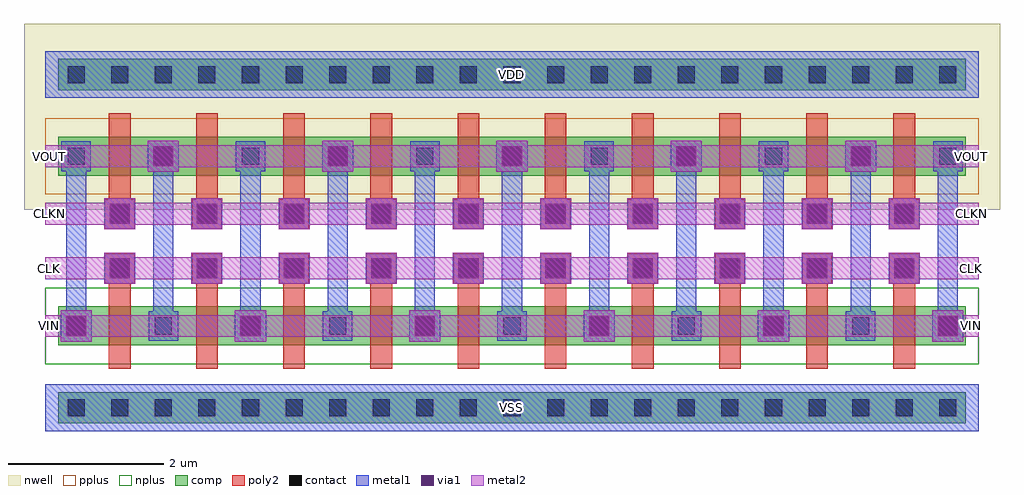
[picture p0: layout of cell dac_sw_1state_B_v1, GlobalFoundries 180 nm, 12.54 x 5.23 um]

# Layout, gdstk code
import gdstk
lib = gdstk.Library(unit=1e-6, precision=5e-09)
def R(c, l, rs):  # rectangles x0, y0, x1, y1
    for r in rs: c.add(gdstk.rectangle(r[:2], r[2:], *l))
def A(c, l, x, y, w, h, nx, ny, dx, dy):  # array of equal rectangles
    R(c, l, [(x+i*dx, y+j*dy, x+i*dx+w, y+j*dy+h) for i in range(nx) for j in range(ny)])
nwell = (21, 0)
comp = (22, 0)
poly2 = (30, 0)
pplus = (31, 0)
nplus = (32, 0)
contact = (33, 0)
metal1 = (34, 0)
via1 = (35, 0)
metal2 = (36, 0)

pfet = lib.new_cell('pfet')
R(pfet, nwell, [(-0.9,-0.44,1.56,0.94)])
R(pfet, comp, [(-0.46,0,0,0.5), (0,0,0.66,0.5), (0.66,0,1.12,0.5)])
R(pfet, poly2, [(0.14,-0.68,0.52,-0.3), (0.19,-0.3,0.47,0.8)])
R(pfet, pplus, [(-0.63,-0.24,1.29,0.74)])
R(pfet, contact, [(0.22,-0.6,0.44,-0.38), (-0.34,0.14,-0.12,0.36), (0.78,0.14,1,0.36)])
R(pfet, metal1, [(0.14,-0.68,0.52,-0.3), (-0.42,0.06,-0.04,0.44), (0.7,0.06,1.08,0.44)])

via_dev = lib.new_cell('via_dev')
R(via_dev, metal1, [(0,0,0.4,0.4)])
R(via_dev, via1, [(0.07,0.07,0.33,0.33)])
R(via_dev, metal2, [(0,0,0.4,0.4)])

dac_sw_1state_b_v1 = lib.new_cell('dac_sw_1state_B_v1')
R(dac_sw_1state_b_v1, nwell, [(5.08,9.03,17.62,10.04)])
A(dac_sw_1state_b_v1, comp, 5.52, 5.91, 1.58, 0.5, 10, 1, 1.12, 0)
R(dac_sw_1state_b_v1, comp, [(5.52,4.91,17.18,5.31), (5.52,5.91,5.98,6.41), (6.64,5.91,7.1,6.41), (6.64,5.91,7.1,6.41), (7.76,5.91,8.22,6.41), (7.76,5.91,8.22,6.41), (8.88,5.91,9.34,6.41), (8.88,5.91,9.34,6.41), (10,5.91,10.46,6.41), (10,5.91,10.46,6.41), (11.12,5.91,11.58,6.41), (11.12,5.91,11.58,6.41), (12.24,5.91,12.7,6.41), (12.24,5.91,12.7,6.41), (13.36,5.91,13.82,6.41), (13.36,5.91,13.82,6.41), (14.48,5.91,14.94,6.41), (14.48,5.91,14.94,6.41), (15.6,5.91,16.06,6.41), (15.6,5.91,16.06,6.41), (16.72,5.91,17.18,6.41), (5.52,9.19,17.18,9.59)])
A(dac_sw_1state_b_v1, poly2, 6.17, 5.61, 0.28, 1.1, 10, 1, 1.12, 0)
A(dac_sw_1state_b_v1, poly2, 6.12, 6.71, 0.38, 0.38, 10, 1, 1.12, 0)
R(dac_sw_1state_b_v1, pplus, [(5.35,4.81,17.35,5.41)])
A(dac_sw_1state_b_v1, nplus, 5.35, 5.67, 1.92, 0.98, 10, 1, 1.12, 0)
R(dac_sw_1state_b_v1, nplus, [(5.35,9.09,17.35,9.69)])
A(dac_sw_1state_b_v1, contact, 5.64, 5, 0.22, 0.22, 21, 2, 0.56, 4.28)
A(dac_sw_1state_b_v1, contact, 6.2, 6.79, 0.22, 0.22, 10, 1, 1.12, 0)
R(dac_sw_1state_b_v1, contact, [(5.64,6.05,5.86,6.27), (6.76,6.05,6.98,6.27), (6.76,6.05,6.98,6.27), (7.88,6.05,8.1,6.27), (7.88,6.05,8.1,6.27), (9,6.05,9.22,6.27), (9,6.05,9.22,6.27), (10.12,6.05,10.34,6.27), (10.12,6.05,10.34,6.27), (11.24,6.05,11.46,6.27), (11.24,6.05,11.46,6.27), (12.36,6.05,12.58,6.27), (12.36,6.05,12.58,6.27), (13.48,6.05,13.7,6.27), (13.48,6.05,13.7,6.27), (14.6,6.05,14.82,6.27), (14.6,6.05,14.82,6.27), (15.72,6.05,15.94,6.27), (15.72,6.05,15.94,6.27), (16.84,6.05,17.06,6.27)])
A(dac_sw_1state_b_v1, metal1, 5.55, 4.91, 0.4, 0.4, 21, 2, 0.56, 4.28)
A(dac_sw_1state_b_v1, metal1, 6.12, 6.71, 0.38, 0.38, 10, 1, 1.12, 0)
R(dac_sw_1state_b_v1, metal1, [(5.56,5.97,5.94,6.35), (6.68,5.97,7.06,6.35), (6.68,5.97,7.06,6.35), (7.8,5.97,8.18,6.35), (7.8,5.97,8.18,6.35), (8.92,5.97,9.3,6.35), (8.92,5.97,9.3,6.35), (10.04,5.97,10.42,6.35), (10.04,5.97,10.42,6.35), (11.16,5.97,11.54,6.35), (11.16,5.97,11.54,6.35), (12.28,5.97,12.66,6.35), (12.28,5.97,12.66,6.35), (13.4,5.97,13.78,6.35), (13.4,5.97,13.78,6.35), (14.52,5.97,14.9,6.35), (14.52,5.97,14.9,6.35), (15.64,5.97,16.02,6.35), (15.64,5.97,16.02,6.35), (16.76,5.97,17.14,6.35)])
dac_sw_1state_b_v1.add(gdstk.FlexPath([(5.35,9.39),(17.35,9.39)], 0.6, ends="flush", simple_path=True, layer=34, datatype=0))  # metal1
dac_sw_1state_b_v1.add(gdstk.FlexPath([(5.75,8.53),(5.75,5.97)], 0.26, ends="flush", simple_path=True, layer=34, datatype=0))  # metal1
dac_sw_1state_b_v1.add(gdstk.FlexPath([(6.87,8.53),(6.87,5.97)], 0.26, ends="flush", simple_path=True, layer=34, datatype=0))  # metal1
dac_sw_1state_b_v1.add(gdstk.FlexPath([(7.99,8.53),(7.99,5.97)], 0.26, ends="flush", simple_path=True, layer=34, datatype=0))  # metal1
dac_sw_1state_b_v1.add(gdstk.FlexPath([(9.11,8.53),(9.11,5.97)], 0.26, ends="flush", simple_path=True, layer=34, datatype=0))  # metal1
dac_sw_1state_b_v1.add(gdstk.FlexPath([(10.23,8.53),(10.23,5.97)], 0.26, ends="flush", simple_path=True, layer=34, datatype=0))  # metal1
dac_sw_1state_b_v1.add(gdstk.FlexPath([(11.35,8.53),(11.35,5.97)], 0.26, ends="flush", simple_path=True, layer=34, datatype=0))  # metal1
dac_sw_1state_b_v1.add(gdstk.FlexPath([(12.47,8.53),(12.47,5.97)], 0.26, ends="flush", simple_path=True, layer=34, datatype=0))  # metal1
dac_sw_1state_b_v1.add(gdstk.FlexPath([(13.59,8.53),(13.59,5.97)], 0.26, ends="flush", simple_path=True, layer=34, datatype=0))  # metal1
dac_sw_1state_b_v1.add(gdstk.FlexPath([(14.71,8.53),(14.71,5.97)], 0.26, ends="flush", simple_path=True, layer=34, datatype=0))  # metal1
dac_sw_1state_b_v1.add(gdstk.FlexPath([(15.83,8.53),(15.83,5.97)], 0.26, ends="flush", simple_path=True, layer=34, datatype=0))  # metal1
dac_sw_1state_b_v1.add(gdstk.FlexPath([(16.95,8.53),(16.95,5.97)], 0.26, ends="flush", simple_path=True, layer=34, datatype=0))  # metal1
dac_sw_1state_b_v1.add(gdstk.FlexPath([(5.35,5.11),(17.35,5.11)], 0.6, ends="flush", simple_path=True, layer=34, datatype=0))  # metal1
dac_sw_1state_b_v1.add(gdstk.FlexPath([(5.35,8.34),(17.35,8.34)], 0.28, ends="flush", simple_path=True, layer=36, datatype=0))  # metal2
dac_sw_1state_b_v1.add(gdstk.FlexPath([(5.35,7.6),(17.35,7.6)], 0.28, ends="flush", simple_path=True, layer=36, datatype=0))  # metal2
dac_sw_1state_b_v1.add(gdstk.FlexPath([(5.35,6.16),(17.35,6.16)], 0.28, ends="flush", simple_path=True, layer=36, datatype=0))  # metal2
dac_sw_1state_b_v1.add(gdstk.FlexPath([(5.35,6.9),(17.35,6.9)], 0.28, ends="flush", simple_path=True, layer=36, datatype=0))  # metal2
dac_sw_1state_b_v1.add(gdstk.Reference(pfet, (7.1,8.09)))
dac_sw_1state_b_v1.add(gdstk.Reference(pfet, (9.34,8.09)))
dac_sw_1state_b_v1.add(gdstk.Reference(pfet, (5.98,8.09)))
dac_sw_1state_b_v1.add(gdstk.Reference(pfet, (12.7,8.09)))
dac_sw_1state_b_v1.add(gdstk.Reference(pfet, (13.82,8.09)))
dac_sw_1state_b_v1.add(gdstk.Reference(pfet, (14.94,8.09)))
dac_sw_1state_b_v1.add(gdstk.Reference(pfet, (16.06,8.09)))
dac_sw_1state_b_v1.add(gdstk.Reference(pfet, (11.58,8.09)))
dac_sw_1state_b_v1.add(gdstk.Reference(pfet, (10.46,8.09)))
dac_sw_1state_b_v1.add(gdstk.Reference(via_dev, (11.71,7.4)))
dac_sw_1state_b_v1.add(gdstk.Reference(via_dev, (6.11,7.4)))
dac_sw_1state_b_v1.add(gdstk.Reference(via_dev, (7.23,7.4)))
dac_sw_1state_b_v1.add(gdstk.Reference(via_dev, (8.35,7.4)))
dac_sw_1state_b_v1.add(gdstk.Reference(via_dev, (9.47,7.4)))
dac_sw_1state_b_v1.add(gdstk.Reference(via_dev, (10.59,7.4)))
dac_sw_1state_b_v1.add(gdstk.Reference(via_dev, (12.83,7.4)))
dac_sw_1state_b_v1.add(gdstk.Reference(via_dev, (13.95,7.4)))
dac_sw_1state_b_v1.add(gdstk.Reference(via_dev, (15.07,7.4)))
dac_sw_1state_b_v1.add(gdstk.Reference(via_dev, (16.19,7.4)))
dac_sw_1state_b_v1.add(gdstk.Reference(via_dev, (11.71,6.7)))
dac_sw_1state_b_v1.add(gdstk.Reference(via_dev, (7.23,6.7)))
dac_sw_1state_b_v1.add(gdstk.Reference(via_dev, (8.35,6.7)))
dac_sw_1state_b_v1.add(gdstk.Reference(via_dev, (9.47,6.7)))
dac_sw_1state_b_v1.add(gdstk.Reference(via_dev, (10.59,6.7)))
dac_sw_1state_b_v1.add(gdstk.Reference(via_dev, (12.83,6.7)))
dac_sw_1state_b_v1.add(gdstk.Reference(via_dev, (13.95,6.7)))
dac_sw_1state_b_v1.add(gdstk.Reference(via_dev, (15.07,6.7)))
dac_sw_1state_b_v1.add(gdstk.Reference(via_dev, (16.19,6.7)))
dac_sw_1state_b_v1.add(gdstk.Reference(pfet, (8.22,8.09)))
dac_sw_1state_b_v1.add(gdstk.Reference(via_dev, (6.67,8.14)))
dac_sw_1state_b_v1.add(gdstk.Reference(via_dev, (8.91,8.14)))
dac_sw_1state_b_v1.add(gdstk.Reference(via_dev, (11.15,8.14)))
dac_sw_1state_b_v1.add(gdstk.Reference(via_dev, (13.39,8.14)))
dac_sw_1state_b_v1.add(gdstk.Reference(via_dev, (15.63,8.14)))
dac_sw_1state_b_v1.add(gdstk.Reference(via_dev, (5.55,5.96)))
dac_sw_1state_b_v1.add(gdstk.Reference(via_dev, (7.79,5.96)))
dac_sw_1state_b_v1.add(gdstk.Reference(via_dev, (10.03,5.96)))
dac_sw_1state_b_v1.add(gdstk.Reference(via_dev, (12.27,5.96)))
dac_sw_1state_b_v1.add(gdstk.Reference(via_dev, (14.51,5.96)))
dac_sw_1state_b_v1.add(gdstk.Reference(via_dev, (16.75,5.96)))
dac_sw_1state_b_v1.add(gdstk.Reference(via_dev, (6.11,6.7)))
dac_sw_1state_b_v1.add(gdstk.Label('VOUT', (5.41,8.34), layer=36, texttype=10))
dac_sw_1state_b_v1.add(gdstk.Label('VOUT', (17.25,8.34), layer=36, texttype=10))
dac_sw_1state_b_v1.add(gdstk.Label('CLKN', (5.41,7.6), layer=36, texttype=10))
dac_sw_1state_b_v1.add(gdstk.Label('CLKN', (17.25,7.6), layer=36, texttype=10))
dac_sw_1state_b_v1.add(gdstk.Label('VIN', (5.41,6.16), layer=36, texttype=10))
dac_sw_1state_b_v1.add(gdstk.Label('VIN', (17.25,6.16), layer=36, texttype=10))
dac_sw_1state_b_v1.add(gdstk.Label('CLK', (17.25,6.9), layer=36, texttype=10))
dac_sw_1state_b_v1.add(gdstk.Label('CLK', (5.41,6.9), layer=36, texttype=10))
dac_sw_1state_b_v1.add(gdstk.Label('VDD', (11.34,9.39), layer=34, texttype=10))
dac_sw_1state_b_v1.add(gdstk.Label('VSS', (11.34,5.11), layer=34, texttype=10))

lib.write_gds('dac_sw_1state_B_v1.gds')
